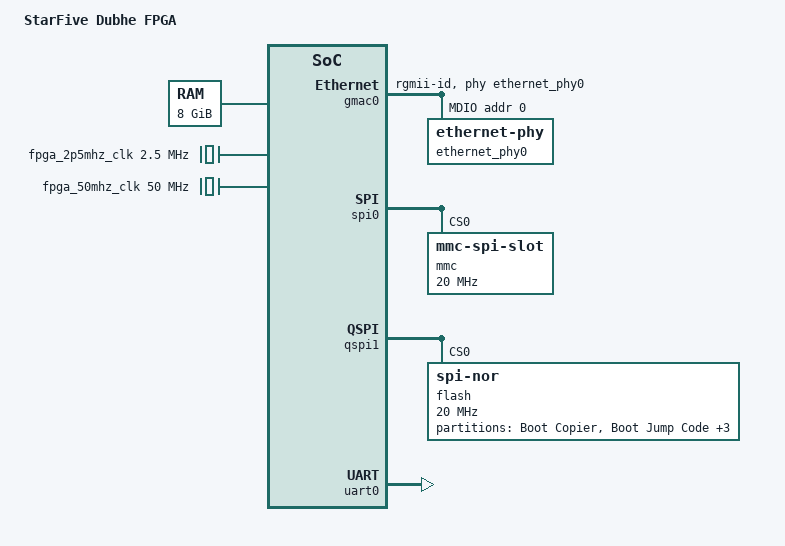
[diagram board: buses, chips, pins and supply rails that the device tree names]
// SPDX-License-Identifier: (GPL-2.0 OR MIT)
/* Copyright (c) 2021 StarFive Technology Co., Ltd. */

/ {
	model = "StarFive Dubhe FPGA";

	aliases {
		ethernet0 = &gmac0;
		serial0 = &uart0;
	};

	chosen {
		bootargs = "console=ttySIF0,115200 earlycon=sbi ip=:::255.255.255.0::eth0:dhcp";
	};

	cpus {
		timebase-frequency = <25000000>;

	};

	memory@80000000 {
		device_type = "memory";
		reg = <0x0 0x80000000 0x2 0x0>;
	};

	soc {

		fpga_2p5mhz_clk: fpga_2p5mhz_clk {
			compatible = "fixed-clock";
			#clock-cells = <0>;
			clock-frequency = <2500000>;
		};

		fpga_50mhz_clk: fpga_50mhz_clk {
			compatible = "fixed-clock";
			#clock-cells = <0>;
			clock-frequency = <50000000>;
		};
	};

	reserved-memory {
		#address-cells = <2>;
		#size-cells = <2>;
		ranges;

		dma-reserved@260000000 {
			reg = <0x2 0x60000000 0x0 0x20000000>;
			no-map;
		};

		linux,dma@660000000 {
			compatible = "shared-dma-pool";
			reg = <0x6 0x60000000 0x0 0x20000000>;
			no-map;
			linux,dma-default;
		};
	};

};

&gmac0 {
	status = "okay";
	phy-mode = "rgmii-id";
	phy-handle = <&ethernet_phy0>;
	clocks = <&fpga_2p5mhz_clk>,
		 <&fpga_2p5mhz_clk>,
		 <&fpga_2p5mhz_clk>,
		 <&fpga_50mhz_clk>,
		 <&fpga_50mhz_clk>;

	mdio0 {
		compatible = "snps,dwmac-mdio";
		#address-cells = <1>;
		#size-cells = <0>;
		ethernet_phy0: ethernet-phy@0 {
			reg = <0>;
			max-speed = <10>;
			device_type = "ethernet-phy";
			marvell,reg-init =
				<0x0 0x4 0 0x0441>, /*Page 0, Reg 4 <- 0x0441*/
				<0x12 0x14 0 0x0>, /*Page 18, Reg 20 <- 0x0*/
				<0x0 0x0 0 0x1100>; /*Page 0, Reg 0 <- 0x1100*/
		};
	};
};

&spi0 {
	status = "okay";
	mmc@0 {
		compatible = "mmc-spi-slot";
		reg = <0>;
		spi-max-frequency = <20000000>;
		voltage-ranges = <3300 3300>;
		disable-wp;
	};
};

&qspi1 {
	status = "okay";

	flash@0 {
		compatible = "jedec,spi-nor";
		reg = <0>;
		spi-max-frequency = <20000000>;
		m25p,fast-read;
		spi-tx-bus-width = <1>;
		spi-rx-bus-width = <1>;

		partitions {
			compatible = "fixed-partitions";
			#address-cells = <1>;
			#size-cells = <1>;

			partition@0 {
				reg = <0x00000000 0x00001000>;
				label = "Boot Copier";
				read-only;
			};

			partition@1000 {
				reg = <0x00001000 0x00001000>;
				label = "Boot Jump Code";
				read-only;
			};

			partition@2000 {
				reg = <0x00002000 0x00040000>;
				label = "U-Boot SPL";
			};

			partition@42000 {
				reg = <0x00042000 0x00100000>;
				label = "U-Boot FIT Image";
			};

			partition@142000 {
				reg = <0x00142000 0x07ebe000>;
				label = "User";
			};
		};
	};
};

&uart0 {
	status = "okay";
};
